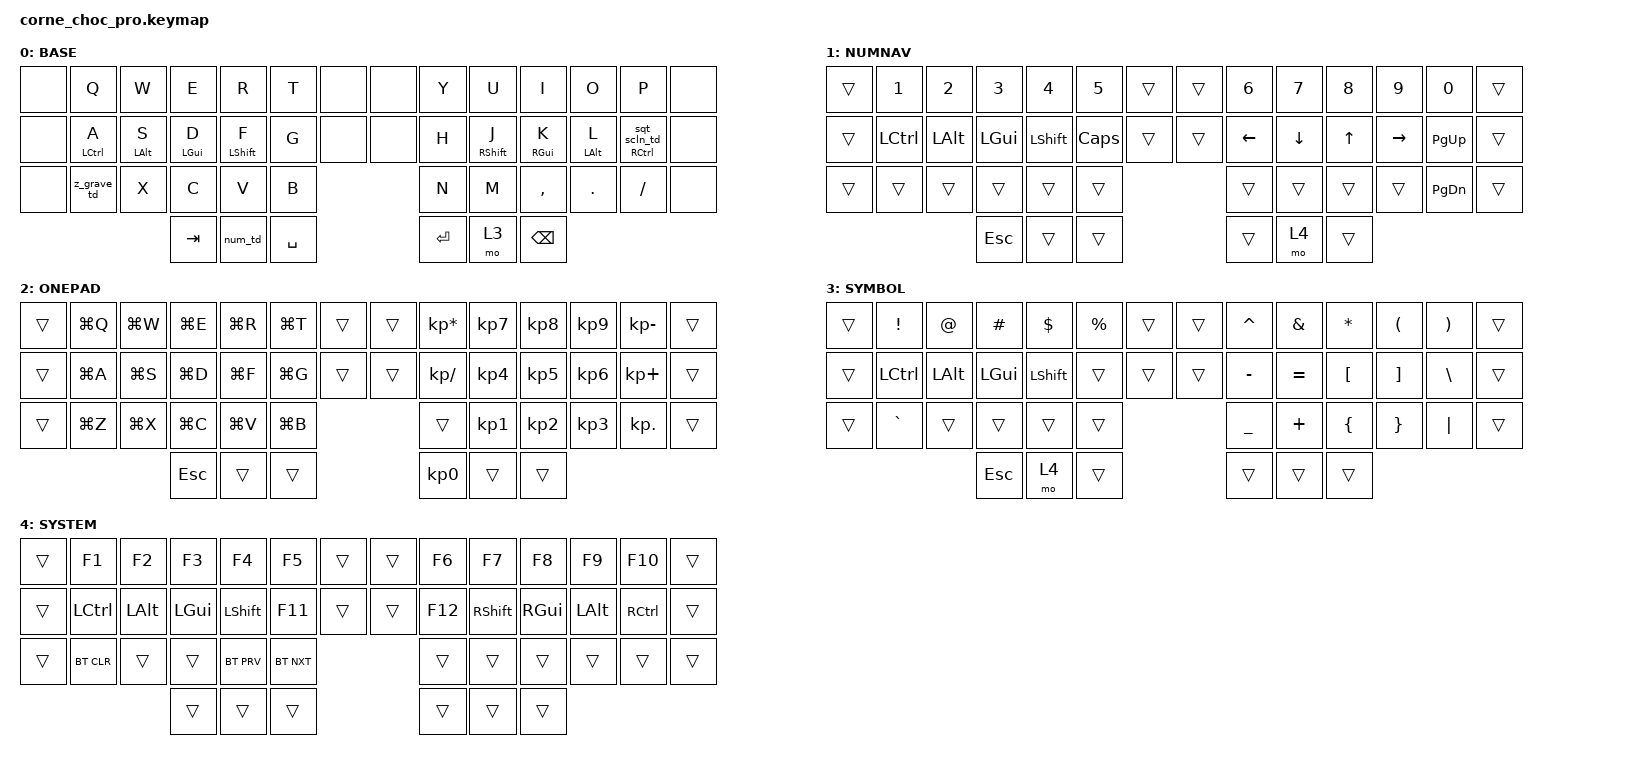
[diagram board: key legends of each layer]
/*
 * Copyright (c) 2020 The ZMK Contributors
 *
 * SPDX-License-Identifier: MIT
 */

#include <behaviors.dtsi>
#include <dt-bindings/zmk/bt.h>
#include <dt-bindings/zmk/keys.h>

/ {
    chosen { zmk,physical-layout = &default_layout; };
};

/ {
    behaviors {
        sqt_scln_td: sqt_scln_td {
            compatible = "zmk,behavior-tap-dance";
            label = "SQT_SCLN_TD";
            #binding-cells = <0>;
            bindings = <&kp SINGLE_QUOTE>, <&kp SEMICOLON>;
        };

        z_grave_td: z_grave_td {
            compatible = "zmk,behavior-tap-dance";
            label = "Z_GRAVE_TD";
            #binding-cells = <0>;
            bindings = <&kp Z>, <&kp GRAVE>;
        };

        left_hrm: left_hrm {
            compatible = "zmk,behavior-hold-tap";
            label = "LEFT_HRM";
            bindings = <&kp>, <&kp>;

            #binding-cells = <2>;
            tapping-term-ms = <200>;
            hold-trigger-key-positions = <8 9 10 11 12 22 23 24 25 26 34 35 36 37 38 43 44 45 42 41 40>;
            hold-trigger-on-release;
            flavor = "hold-preferred";
            quick-tap-ms = <150>;
            require-prior-idle-ms = <200>;
        };

        right_hrm: right_hrm {
            compatible = "zmk,behavior-hold-tap";
            label = "RIGHT_HRM";
            bindings = <&kp>, <&kp>;

            #binding-cells = <2>;
            tapping-term-ms = <200>;
            hold-trigger-on-release;
            flavor = "hold-preferred";
            quick-tap-ms = <150>;
            require-prior-idle-ms = <200>;
            hold-trigger-key-positions = <1 2 3 4 5 15 16 17 18 19 29 30 31 32 33 40 41 42 43 44 45>;
        };

        sqt_hrm: sqt_hrm {
            compatible = "zmk,behavior-hold-tap";
            label = "SQT_HRM";
            bindings = <&kp>, <&sqt_scln_td>;

            #binding-cells = <2>;
            tapping-term-ms = <200>;
            hold-trigger-on-release;
            flavor = "hold-preferred";
            quick-tap-ms = <150>;
            require-prior-idle-ms = <200>;
            hold-trigger-key-positions = <1 2 3 4 5 15 16 17 18 19 29 30 31 32 33 40 41 42 43 44 45>;
        };

        num_td: num_td {
            compatible = "zmk,behavior-tap-dance";
            label = "NUM_TD";
            #binding-cells = <0>;
            bindings = <&mo 1>, <&mo 2>;
        };
    };

    keymap {
        compatible = "zmk,keymap";

        default_layer {
            display-name = "BASE";

            // --------------------------------------------------------------------------------
            // |  TAB |  Q  |  W  |  E  |  R  |  T  |  MUTE |  PP   |  Y  |  U   |  I  |  O  |  P  | BSPC |
            // | CTRL |  A  |  S  |  D  |  F  |  G  |  LALT |  RALT |  H  |  J   |  K  |  L  |  ;  |  '   |
            // | SHFT |  Z  |  X  |  C  |  V  |  B  |               |  N  |  M   |  ,  |  .  |  /  | ESC  |
            //                    | GUI | LWR | SPC |               | ENT | RSE  | ALT |

            bindings = <
&none  &kp Q                     &kp W                 &kp E                 &kp R                   &kp T      &none  &none  &kp Y    &kp U                     &kp I                   &kp O                  &kp P                     &none
&none  &left_hrm LEFT_CONTROL A  &left_hrm LEFT_ALT S  &left_hrm LEFT_GUI D  &left_hrm LEFT_SHIFT F  &kp G      &none  &none  &kp H    &right_hrm RIGHT_SHIFT J  &right_hrm RIGHT_GUI K  &right_hrm LEFT_ALT L  &sqt_hrm RIGHT_CONTROL 0  &none
&none  &z_grave_td               &kp X                 &kp C                 &kp V                   &kp B                    &kp N    &kp M                     &kp COMMA               &kp DOT                &kp FSLH                  &none
                                                       &kp TAB               &num_td                 &kp SPACE                &kp RET  &mo 3                     &kp BACKSPACE
            >;
        };

        numnav_layer {
            display-name = "NUMNAV";

            // -----------------------------------------------------------------------------------------
            // |  TAB |  1  |  2  |  3  |  4  |  5    |  LCTRL | RCTRL |  6  |  7  |  8  |  9  |  0  | BSPC |
            // | CTRL | BT1 | BT2 | BT3 | BT4 | BT5   |  LALT  | RALT  | LFT | DWN |  UP | RGT |     |      |
            // | SHFT | BTCR| RGB | RST | BOOT| Unlock|        |       |     |     |     |     |     |      |
            //                    | GUI |     | SPC   |        | ENT   |     | ALT |

            bindings = <
&trans  &kp N1     &kp N2    &kp N3      &kp N4     &kp N5    &trans  &trans  &kp N6    &kp N7    &kp N8  &kp N9     &kp N0         &trans
&trans  &kp LCTRL  &kp LALT  &kp LGUI    &kp LSHFT  &kp CAPS  &trans  &trans  &kp LEFT  &kp DOWN  &kp UP  &kp RIGHT  &kp PAGE_UP    &trans
&trans  &trans     &trans    &trans      &trans     &trans                    &trans    &trans    &trans  &trans     &kp PAGE_DOWN  &trans
                             &kp ESCAPE  &trans     &trans                    &trans    &mo 4     &trans
            >;
        };

        onepad_layer {
            bindings = <
&trans  &kp LG(Q)  &kp LG(W)  &kp LG(E)   &kp LG(R)  &kp LG(T)  &trans  &trans  &kp KP_MULTIPLY  &kp KP_NUMBER_7  &kp KP_NUMBER_8  &kp KP_NUMBER_9  &kp KP_MINUS  &trans
&trans  &kp LG(A)  &kp LG(S)  &kp LG(D)   &kp LG(F)  &kp LG(G)  &trans  &trans  &kp KP_DIVIDE    &kp KP_NUMBER_4  &kp KP_NUMBER_5  &kp KP_NUMBER_6  &kp KP_PLUS   &trans
&trans  &kp LG(Z)  &kp LG(X)  &kp LG(C)   &kp LG(V)  &kp LG(B)                  &trans           &kp KP_NUMBER_1  &kp KP_NUMBER_2  &kp KP_NUMBER_3  &kp KP_DOT    &trans
                              &kp ESCAPE  &trans     &trans                     &kp KP_NUMBER_0  &trans           &trans
            >;

            label = "ONEPAD";
        };

        symbol_layer {
            display-name = "SYMBOL";

            // -----------------------------------------------------------------------------------------
            // |  TAB |  !  |  @  |  #  |  $  |  %  | LCTRL | RCTRL |  ^  |  &  |  *  |  (  |  )  | BSPC |
            // | CTRL | HUD | HUI |     |     |     |  LALT | RALT  |  -  |  =  |  [  |  ]  |  \  |  `   |
            // | SHFT |     |     |     |     |     |               |  _  |  +  |  {  |  }  | "|" |  ~   |
            //                    | GUI |     | SPC |               | ENT |     | ALT |

            bindings = <
&trans  &kp EXCL   &kp AT    &kp HASH    &kp DLLR   &kp PRCNT  &trans  &trans  &kp CARET  &kp AMPS   &kp ASTRK  &kp LPAR  &kp RPAR  &trans
&trans  &kp LCTRL  &kp LALT  &kp LGUI    &kp LSHFT  &trans     &trans  &trans  &kp MINUS  &kp EQUAL  &kp LBKT   &kp RBKT  &kp BSLH  &trans
&trans  &kp GRAVE  &trans    &trans      &trans     &trans                     &kp UNDER  &kp PLUS   &kp LBRC   &kp RBRC  &kp PIPE  &trans
                             &kp ESCAPE  &mo 4      &trans                     &trans     &trans     &trans
            >;
        };

        system_layer {
            display-name = "SYSTEM";
            bindings = <
&trans  &kp F1      &kp F2    &kp F3    &kp F4      &kp F5      &trans  &trans  &kp F6   &kp F7     &kp F8    &kp F9    &kp F10    &trans
&trans  &kp LCTRL   &kp LALT  &kp LGUI  &kp LSHFT   &kp F11     &trans  &trans  &kp F12  &kp RSHFT  &kp RGUI  &kp LALT  &kp RCTRL  &trans
&trans  &bt BT_CLR  &trans    &trans    &bt BT_PRV  &bt BT_NXT                  &trans   &trans     &trans    &trans    &trans     &trans
                              &trans    &trans      &trans                      &trans   &trans     &trans
            >;
        };
    };
};
